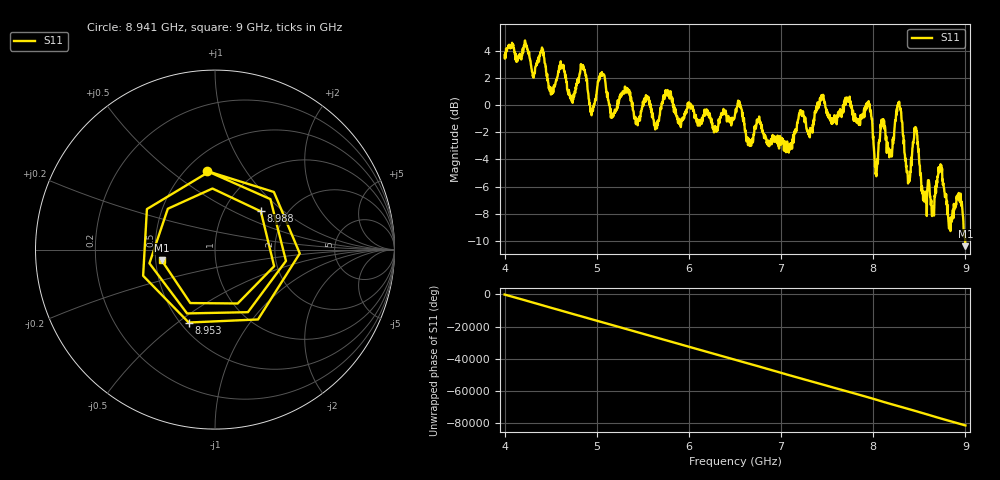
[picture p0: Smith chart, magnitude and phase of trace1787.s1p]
! Created with skrf 1.8.0 (http://scikit-rf.org).
# Hz S RI R 50.0
!freq ReS11 ImS11
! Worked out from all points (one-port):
!   1601 points, 4 GHz to 9 GHz, reference 50 ohm
!   lowest |S11| = -10.4 dB at 9 GHz (marker M1), VSWR 1.87, Z = 26.9 - j3.52 ohm
!   |S11| at or under -10 dB: 8.998391 GHz to end of sweep
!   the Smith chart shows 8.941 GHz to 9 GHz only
!   S11 on the Smith chart (normalised r, x): 8.941 GHz: 0.63, +0.68; 8.953 GHz: 0.55, -0.55; 8.988 GHz: 1.48, +0.71; 9 GHz: 0.54, -0.07
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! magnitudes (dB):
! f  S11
! 4 GHz  3.7
! 4.406 GHz  4.2
! 4.503 GHz  0.8
! 4.625 GHz  2.9
! 4.731 GHz  0.3
! 4.853 GHz  2.9
! 4.944 GHz  -0.8
! 5.056 GHz  2.4
! 5.169 GHz  -0.7
! 5.25 GHz  0.7
! 5.875 GHz  -1.0
! 6.5 GHz  -0.7
! 7.125 GHz  -2.5
! 7.444 GHz  0.6
! 7.75 GHz  0.1
! 7.953 GHz  0.1
! 8.031 GHz  -5.0
! 8.281 GHz  0.2
! 8.375 GHz  -5.4
! 8.459 GHz  -1.6
! 8.556 GHz  -6.9
! 8.647 GHz  -7.7
! 8.722 GHz  -4.5
! 8.828 GHz  -9.0
! 8.941 GHz  -7.1
! 8.953 GHz  -7.3
! 8.988 GHz  -9.6
! 9 GHz  -10.4
